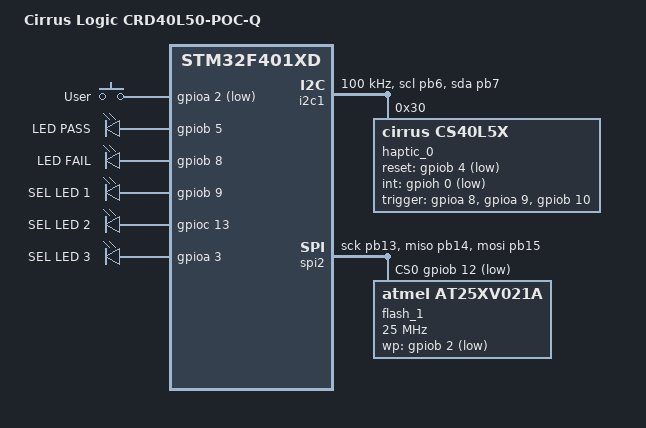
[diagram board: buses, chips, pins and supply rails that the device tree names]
/*
 * Copyright (c) 2026 Cirrus Logic, Inc.
 *
 * SPDX-License-Identifier: Apache-2.0
 */

/dts-v1/;
#include <st/f4/stm32f401Xd.dtsi>
#include <st/f4/stm32f401c(d-e)yx-pinctrl.dtsi>
#include <zephyr/dt-bindings/input/input-event-codes.h>

/ {
	model = "Cirrus Logic CRD40L50-POC-Q";
	compatible = "cirrus,crd40l50";

	aliases {
		flash1 = &flash_1;
		haptic0 = &haptic_0;
		led0 = &green_led_1;
		led1 = &red_led_1;
		led2 = &yellow_led_1;
		led3 = &yellow_led_2;
		led4 = &yellow_led_3;
		sw0 = &user_button;
	};

	buttons {
		compatible = "gpio-keys";

		user_button: button {
			label = "User";
			gpios = <&gpioa 2 GPIO_ACTIVE_LOW>;
			zephyr,code = <INPUT_KEY_0>;
		};
	};

	chosen {
		zephyr,code-partition = &slot0_partition;
		zephyr,console = &rtt0;
		zephyr,flash = &flash0;
		zephyr,shell-uart = &usart1;
		zephyr,sram = &sram0;
	};

	leds {
		compatible = "gpio-leds";

		green_led_1: led_1 {
			gpios = <&gpiob 5 GPIO_ACTIVE_HIGH>;
			label = "LED PASS";
		};

		red_led_1: led_2 {
			gpios = <&gpiob 8 GPIO_ACTIVE_HIGH>;
			label = "LED FAIL";
		};

		yellow_led_1: led_3 {
			gpios = <&gpiob 9 GPIO_ACTIVE_HIGH>;
			label = "SEL LED 1";
		};

		yellow_led_2: led_4 {
			gpios = <&gpioc 13 GPIO_ACTIVE_HIGH>;
			label = "SEL LED 2";
		};

		yellow_led_3: led_5 {
			gpios = <&gpioa 3 GPIO_ACTIVE_HIGH>;
			label = "SEL LED 3";
		};
	};

	rtt0: rtt_chan0 {
		compatible = "segger,rtt-uart";
		status = "okay";
	};
};

&clk_lse {
	status = "okay";
};

&clk_hsi {
	status = "okay";
};

&pll {
	status = "okay";

	clocks = <&clk_hsi>;

	div-m = <16>;
	mul-n = <336>;
	div-p = <4>;
	div-q = <7>;
};

&rcc {
	clocks = <&pll>;
	clock-frequency = <DT_FREQ_M(84)>;

	ahb-prescaler = <1>;
	apb1-prescaler = <2>;
	apb2-prescaler = <1>;
};

&i2c1 {
	status = "okay";

	clock-frequency = <I2C_BITRATE_STANDARD>;

	pinctrl-0 = <&i2c1_scl_pb6 &i2c1_sda_pb7>;
	pinctrl-1 = <&analog_pb6 &analog_pb7>;
	pinctrl-names = "default", "sleep";

	haptic_0: haptic@30 {
		compatible = "cirrus,cs40l5x";
		reg = <0x30>;

		reset-gpios = <&gpiob 4 (GPIO_ACTIVE_LOW | GPIO_PULL_UP)>;
		int-gpios = <&gpioh 0 (GPIO_ACTIVE_LOW | GPIO_PULL_UP)>;

		trigger-mapping = <11 12 13>;
		trigger-gpios = <&gpioa 8 GPIO_PULL_UP>,
				<&gpioa 9 GPIO_PULL_UP>,
				<&gpiob 10 GPIO_PULL_UP>;

		flash-storage = <&flash_1>;
		flash-offset = <0x0>;

		status = "okay";
	};
};

&spi2 {
	status = "okay";

	cs-gpios = <&gpiob 12 (GPIO_ACTIVE_LOW | GPIO_PULL_UP)>;

	pinctrl-0 = <&spi2_sck_pb13 &spi2_miso_pb14 &spi2_mosi_pb15>;
	pinctrl-1 = <&analog_pb13 &analog_pb14 &analog_pb15>;
	pinctrl-names = "default", "sleep";

	flash_1: flash@0 {
		compatible = "atmel,at25xv021a";
		reg = <0>;
		spi-max-frequency = <25000000>;

		size = <DT_SIZE_K(256)>;
		page-size = <256>;
		timeout = <10>;
		timeout-erase = <4000>;

		wp-gpios = <&gpiob 2 (GPIO_ACTIVE_LOW | GPIO_PULL_UP)>;

		status = "okay";
	};
};

&flash0 {
	partitions {
		compatible = "fixed-partitions";

		#address-cells = <1>;
		#size-cells = <1>;

		boot_partition: partition@0 {
			label = "mcuboot";
			reg = <0x00000000 DT_SIZE_K(64)>;
			read-only;
		};

		/*
		 * The flash starting at offset 0x10000 and ending at
		 * offset 0x1ffff is reserved for use by the application.
		 */

		slot0_partition: partition@20000 {
			label = "image-0";
			reg = <0x00020000 DT_SIZE_K(64)>;
		};

		slot1_partition: partition@30000 {
			label = "image-1";
			reg = <0x00030000 DT_SIZE_K(64)>;
		};

		scratch_partition: partition@40000 {
			label = "image-scratch";
			reg = <0x00040000 DT_SIZE_K(64)>;
		};

		storage_partition: partition@50000 {
			label = "storage";
			reg = <0x00050000 DT_SIZE_K(64)>;
		};
	};
};
